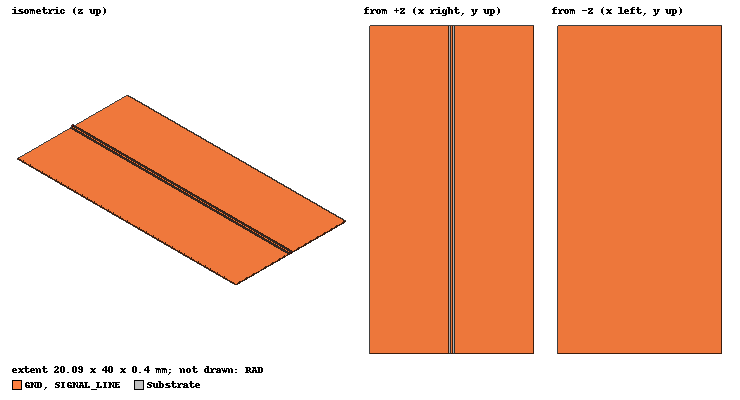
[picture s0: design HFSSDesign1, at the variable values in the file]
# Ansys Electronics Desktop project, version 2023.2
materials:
  vacuum: permittivity=1
  copper: permeability=0.999991 conductivity=58000000
  FR4_epoxy: permittivity=4.4 dielectric_loss_tangent=0.02

design HFSSDesign1 (HFSS, HFSS Modal Network, model units mm)
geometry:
  GND [copper] = box(corner=(0mm, 0mm, 0mm), size=(20mm, 40mm, 0.032mm))
  Substrate [FR4_epoxy] = box(corner=(0mm, 0mm, 0.032mm), size=(20mm, 40mm, 0.055mm))
  SIGNAL_LINE [copper] = box(corner=(9.83mm, 0mm, 0.087mm), size=(0.34mm, 40mm, 0.012mm))
  TOP_GND1 = box(corner=(20mm, 40mm, 0.087mm), size=(-9.6268mm, -40mm, 0.012mm))
  TOP_GND2 = box(corner=(0mm, 40mm, 0.087mm), size=(9.6268mm, -40mm, 0.012mm))
  Port1 = rectangle(corner=(10.2mm, 0mm, 0mm), z_size=0.4mm, x_size=-0.4mm)
  GND_1 = box(corner=(0mm, 40mm, 0mm), size=(-0.05mm, -40mm, 0.1mm))
  GND_PERP1 = box(corner=(20mm, 0mm, 0mm), size=(0.04mm, 40mm, 0.1mm))
  Port2 = rectangle(corner=(9.8mm, 40mm, 0mm), z_size=0.2mm, x_size=0.4mm)
  RAD [vacuum] = box(corner=(-10mm, 0mm, -5mm), size=(40mm, 40mm, 10mm))
  GND.unite(GND_1, TOP_GND2)
  GND.unite(TOP_GND1, GND_PERP1)
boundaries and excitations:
  PerfE1: Perfect E Objects=SIGNAL_LINE
  PerfE2: Perfect E Objects=GND
  Rad1: Radiation Objects=RAD
  1: Wave Port Objects=Port1 WavePortType=Default NumModes=1 Modes{Mode1{IntLine{(10, 0, 0.099) -> (10, 0, 0.032)} CharImp=Zpi}}
  2: Wave Port Objects=Port2 WavePortType=Default NumModes=1 Modes{Mode1{IntLine{(10, 40, 0.099) -> (10000mm, 40000mm, 20mm)} CharImp=Zpi}}
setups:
  Setup1: HfssDrivenAuto AutoSolverSetting="Higher Accuracy" SaveAnyFields=false Type=Interpolating
    sweep Sweep: 0GHz to 10GHz, 501 points;
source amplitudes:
  1:1: 1W 0deg
  2:1: 0W 0deg
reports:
  Z Parameter Plot 1: mag(Z(1,2)) vs Freq on Setup1 : Sweep
